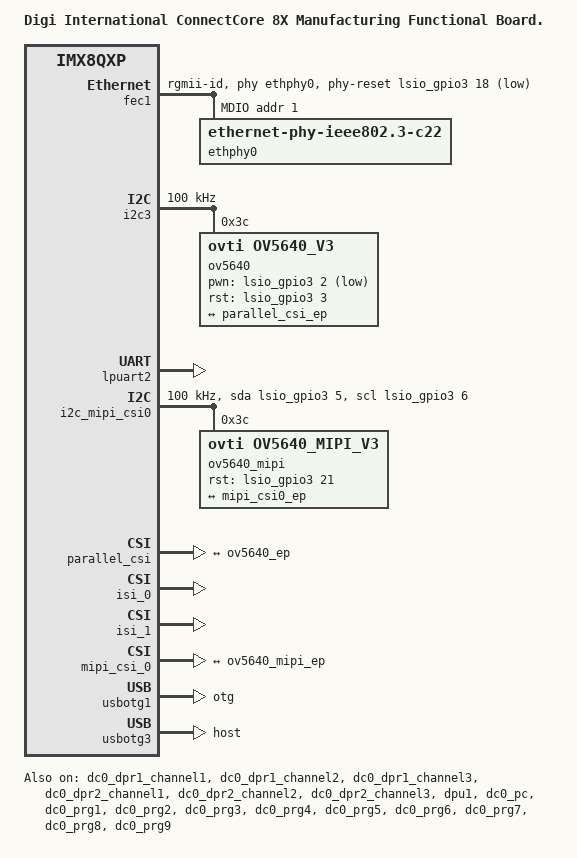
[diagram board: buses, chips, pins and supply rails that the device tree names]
/*
 * Copyright 2018-2019, Digi International Inc.
 *
 * Permission to use, copy, modify, and/or distribute this software for any
 * purpose with or without fee is hereby granted, provided that the above
 * copyright notice and this permission notice appear in all copies.
 * THE SOFTWARE IS PROVIDED "AS IS" AND THE AUTHOR DISCLAIMS ALL WARRANTIES
 * WITH REGARD TO THIS SOFTWARE INCLUDING ALL IMPLIED WARRANTIES OF
 * MERCHANTABILITY AND FITNESS. IN NO EVENT SHALL THE AUTHOR BE LIABLE FOR
 * ANY SPECIAL, DIRECT, INDIRECT, OR CONSEQUENTIAL DAMAGES OR ANY DAMAGES
 * WHATSOEVER RESULTING FROM LOSS OF USE, DATA OR PROFITS, WHETHER IN AN
 * ACTION OF CONTRACT, NEGLIGENCE OR OTHER TORTIOUS ACTION, ARISING OUT OF
 * OR IN CONNECTION WITH THE USE OR PERFORMANCE OF THIS SOFTWARE.
 */

#include <dt-bindings/usb/pd.h>
/ {
	model = "Digi International ConnectCore 8X Manufacturing Functional Board.";
	compatible = "digi,ccimx8x", "fsl,imx8qxp";
	digi,machine,name = "ccimx8x-mfg-functional";

	chosen {
		bootargs = "console=ttyLP2,115200 earlycon=lpuart32,0x5a080000,115200";
		stdout-path = &lpuart2;
	};
};

&dc0_dpr1_channel1 {
	status = "okay";
};

&dc0_dpr1_channel2 {
	status = "okay";
};

&dc0_dpr1_channel3 {
	status = "okay";
};

&dc0_dpr2_channel1 {
	status = "okay";
};

&dc0_dpr2_channel2 {
	status = "okay";
};

&dc0_dpr2_channel3 {
	status = "okay";
};

&dpu1 {
	status = "okay";
};

&fec1 {
	pinctrl-names = "default";
	pinctrl-0 = <&pinctrl_fec_gpio>,
		    <&pinctrl_fec>;
	phy-mode = "rgmii-id";
	phy-handle = <&ethphy0>;
	phy-reset-gpios = <&lsio_gpio3 18 GPIO_ACTIVE_LOW>;
	phy-reset-duration = <1>;
	fsl,magic-packet;
	status = "okay";

	mdio {
		#address-cells = <1>;
		#size-cells = <0>;

		ethphy0: ethernet-phy@0 {
			compatible = "ethernet-phy-ieee802.3-c22";
			reg = <1>;
			at803x,eee-disabled;
			at803x,vddio-1p8v;
		};
	};
};

&i2c3 {
	#address-cells = <1>;
	#size-cells = <0>;
	clock-frequency = <100000>;
	pinctrl-names = "default";
	pinctrl-0 = <&pinctrl_lpi2c3>;
	status = "okay";

	/* CSI Parallel Camera */
	ov5640: ov5640@3c {
		compatible = "ovti,ov5640_v3";
		reg = <0x3c>;
		pinctrl-names = "default";
		pinctrl-0 = <&pinctrl_parallel_csi>;
		clocks = <&pi0_misc_lpcg 0>;
		clock-names = "csi_mclk";
		pwn-gpios = <&lsio_gpio3 2 GPIO_ACTIVE_LOW>;
		rst-gpios = <&lsio_gpio3 3 GPIO_ACTIVE_HIGH>;
		csi_id = <0>;
		mclk = <24000000>;
		mclk_source = <0>;
		status = "okay";

		port {
			ov5640_ep: endpoint {
				remote-endpoint = <&parallel_csi_ep>;
			};
		};
	};
};

/* Console */
&lpuart2 {
	pinctrl-names = "default";
	pinctrl-0 = <&pinctrl_lpuart2>;
	status = "okay";
};

/* MIPI-CSI0 I2C available on MIPI Camera connector */
&i2c_mipi_csi0 {
	#address-cells = <1>;
	#size-cells = <0>;
	pinctrl-names = "default", "gpio";
	pinctrl-0 = <&pinctrl_csi0_lpi2c0>;
	pinctrl-1 = <&pinctrl_csi0_lpi2c0_gpio>;
	scl-gpios = <&lsio_gpio3 6 GPIO_ACTIVE_HIGH>;
	sda-gpios = <&lsio_gpio3 5 GPIO_ACTIVE_HIGH>;
	clock-frequency = <100000>;
	status = "okay";

	/* MIPI-CSI2 camera */
	ov5640_mipi: ov5640_mipi@3c {
		compatible = "ovti,ov5640_mipi_v3";
		reg = <0x3c>;
		pinctrl-names = "default";
		pinctrl-0 = <&pinctrl_mipi>;
		clocks = <&clk_dummy>;
		clock-names = "csi_mclk";
		csi_id = <0>;
		rst-gpios = <&lsio_gpio3 21 GPIO_ACTIVE_HIGH>;
		mclk = <24000000>;
		mclk_source = <0>;
		mipi_csi;
		status = "okay";

		port {
			ov5640_mipi_ep: endpoint {
				remote-endpoint = <&mipi_csi0_ep>;
			};
		};
	};
};

&cameradev {
	parallel_csi;
};

&parallel_csi {
	#address-cells = <1>;
	#size-cells = <0>;
	status = "okay";

	port@0 {
		reg = <0>;
		parallel_csi_ep: endpoint {
			remote-endpoint = <&ov5640_ep>;
		};
	};
};

&isi_0 {
	interface = <6 0 2>;	/* INPUT: 6-PARALLEL CSI */
	parallel_csi;
	status = "okay";
};

&isi_1 {
	interface = <2 0 2>;	/* INPUT: 2-MIPI CSI0 */
	status = "okay";
};

&mipi_csi_0 {
	#address-cells = <1>;
	#size-cells = <0>;
	status = "okay";

	/* Camera 0  MIPI CSI-2 (CSIS0) */
	port@0 {
		reg = <0>;
		mipi_csi0_ep: endpoint {
			remote-endpoint = <&ov5640_mipi_ep>;
			data-lanes = <1 2>;
		};
	};
};

/* MIPI display support */
&mipi0_dphy {
	status = "disabled";
};

&mipi0_dsi_host {
	status = "disabled";
};

/*&mipi_dsi_bridge1 {
	status = "disabled";

	panel@0 {
		compatible = "raydium,rm67191";
		reg = <0>;
		dsi-lanes = <4>;
		video-mode = <0>;
		panel-width-mm = <68>;
		panel-height-mm = <121>;
		display-timings {
			timing {
				clock-frequency = <31500000>;
				hactive = <640>;
				vactive = <480>;
				hback-porch = <4>;
				hfront-porch = <10>;
				vback-porch = <34>;
				vfront-porch = <20>;
				hsync-len = <2>;
				vsync-len = <2>;
				hsync-active = <0>;
				vsync-active = <0>;
				de-active = <0>;
				pixelclk-active = <0>;
			};
		};
		port {
			panel1_in: endpoint {
				remote-endpoint = <&mipi_bridge1_out>;
			};
		};
	};

	port@2 {
		mipi_bridge1_out: endpoint {
			remote-endpoint = <&panel1_in>;
		};
	};
};

&mipi_dsi_phy2 {
	status = "disabled";
};

&mipi_dsi2 {
	status = "disabled";
};

&mipi_dsi_bridge2 {
	status = "disabled";

	panel@0 {
		compatible = "raydium,rm67191";
		reg = <0>;
		dsi-lanes = <4>;
		video-mode = <0>;
		panel-width-mm = <68>;
		panel-height-mm = <121>;
		display-timings {
			timing {
				clock-frequency = <31500000>;
				hactive = <640>;
				vactive = <480>;
				hback-porch = <4>;
				hfront-porch = <10>;
				vback-porch = <34>;
				vfront-porch = <20>;
				hsync-len = <2>;
				vsync-len = <2>;
				hsync-active = <0>;
				vsync-active = <0>;
				de-active = <0>;
				pixelclk-active = <0>;
			};
		};
		port {
			panel2_in: endpoint {
				remote-endpoint = <&mipi_bridge2_out>;
			};
		};
	};

	port@2 {
		mipi_bridge2_out: endpoint {
			remote-endpoint = <&panel2_in>;
		};
	};
};*/

&dc0_pc {
	status = "okay";
};

&dc0_prg1 {
	status = "okay";
};

&dc0_prg2 {
	status = "okay";
};

&dc0_prg3 {
	status = "okay";
};

&dc0_prg4 {
	status = "okay";
};

&dc0_prg5 {
	status = "okay";
};

&dc0_prg6 {
	status = "okay";
};

&dc0_prg7 {
	status = "okay";
};

&dc0_prg8 {
	status = "okay";
};

&dc0_prg9 {
	status = "okay";
};

&usbotg1 {
	dr_mode = "otg";
	disable-over-current;
	status = "okay";
};

&usbotg3 {
	dr_mode = "host";
	disable-over-current;
	status = "okay";
};

/* IOMUX */
&iomuxc {
	pinctrl-names = "default";
	pinctrl-0 = <&pinctrl_hog>;

	pinctrl_hog: hoggrp {
		fsl,pins = <
			/* Castellated pads */
			IMX8QXP_USDHC1_RESET_B_LSIO_GPIO4_IO19		0x06000020
			IMX8QXP_USDHC1_VSELECT_LSIO_GPIO4_IO20		0x06000020
			IMX8QXP_USDHC1_WP_LSIO_GPIO4_IO21			0x06000020
			IMX8QXP_USDHC1_CD_B_LSIO_GPIO4_IO22		0x06000020
			IMX8QXP_USDHC1_CMD_LSIO_GPIO4_IO24			0x06000020
			IMX8QXP_USDHC1_DATA0_LSIO_GPIO4_IO25		0x06000020
			IMX8QXP_USDHC1_DATA1_LSIO_GPIO4_IO26		0x06000020
			IMX8QXP_USDHC1_DATA2_LSIO_GPIO4_IO27		0x06000020
			IMX8QXP_USDHC1_DATA3_LSIO_GPIO4_IO28		0x06000020
			IMX8QXP_USDHC1_CLK_LSIO_GPIO4_IO23			0x06000020
			IMX8QXP_UART0_TX_LSIO_GPIO1_IO22			0x06000020
			IMX8QXP_UART0_RX_LSIO_GPIO1_IO21			0x06000020
			IMX8QXP_MIPI_DSI0_I2C0_SCL_LSIO_GPIO1_IO25		0x06000020
			IMX8QXP_MIPI_DSI0_I2C0_SDA_LSIO_GPIO1_IO26		0x06000020
			IMX8QXP_MIPI_DSI0_GPIO0_00_LSIO_GPIO1_IO27		0x06000020
			IMX8QXP_MIPI_DSI1_I2C0_SCL_LSIO_GPIO1_IO29		0x06000020
			IMX8QXP_MIPI_DSI1_I2C0_SDA_LSIO_GPIO1_IO30		0x06000020
			IMX8QXP_MIPI_DSI1_GPIO0_00_LSIO_GPIO1_IO31		0x06000020
			IMX8QXP_MIPI_DSI1_GPIO0_01_LSIO_GPIO2_IO00		0x06000020
			IMX8QXP_QSPI0A_SS1_B_LSIO_GPIO3_IO15		0x06000020
			IMX8QXP_QSPI0A_SCLK_LSIO_GPIO3_IO16		0x06000020
			IMX8QXP_QSPI0A_DQS_LSIO_GPIO3_IO13			0x06000020
			IMX8QXP_QSPI0A_SS0_B_LSIO_GPIO3_IO14		0x06000020
			IMX8QXP_FLEXCAN2_RX_LSIO_GPIO1_IO19		0x06000020
			IMX8QXP_FLEXCAN2_TX_LSIO_GPIO1_IO20		0x06000020
			IMX8QXP_FLEXCAN1_RX_LSIO_GPIO1_IO17		0x06000020
			IMX8QXP_FLEXCAN1_TX_LSIO_GPIO1_IO18		0x06000020
			IMX8QXP_FLEXCAN0_RX_LSIO_GPIO1_IO15		0x06000020
			IMX8QXP_FLEXCAN0_TX_LSIO_GPIO1_IO16		0x06000020
			IMX8QXP_ADC_IN1_LSIO_GPIO1_IO09			0x06000020
			IMX8QXP_ADC_IN0_LSIO_GPIO1_IO10			0x06000020
			IMX8QXP_MCLK_OUT0_LSIO_GPIO0_IO20			0x06000020
			IMX8QXP_MCLK_IN0_LSIO_GPIO0_IO19			0x06000020
			IMX8QXP_SPI3_SCK_LSIO_GPIO0_IO13			0x06000020
			IMX8QXP_SPI3_SDO_LSIO_GPIO0_IO14			0x06000020
			IMX8QXP_SPI3_SDI_LSIO_GPIO0_IO15			0x06000020
			IMX8QXP_SPI3_CS0_LSIO_GPIO0_IO16			0x06000020
			IMX8QXP_ENET0_REFCLK_125M_25M_LSIO_GPIO5_IO09	0x06000020
			IMX8QXP_SCU_GPIO0_00_LSIO_GPIO2_IO03		0x06000020
			/* LGA pads */
			IMX8QXP_ESAI0_SCKR_LSIO_GPIO0_IO02			0x06000020
			IMX8QXP_ESAI0_SCKT_LSIO_GPIO0_IO03			0x06000020
			IMX8QXP_ESAI0_TX1_LSIO_GPIO0_IO05			0x06000020
			IMX8QXP_USB_SS3_TC1_LSIO_GPIO4_IO04		0x06000020
			IMX8QXP_USB_SS3_TC0_LSIO_GPIO4_IO03		0x06000020
			IMX8QXP_USB_SS3_TC2_LSIO_GPIO4_IO05		0x06000020
			IMX8QXP_USB_SS3_TC3_LSIO_GPIO4_IO06		0x06000020
			IMX8QXP_SPI2_CS0_LSIO_GPIO1_IO00			0x06000020
			IMX8QXP_ESAI0_TX2_RX3_LSIO_GPIO0_IO06		0x06000020
			IMX8QXP_ESAI0_FST_LSIO_GPIO0_IO01			0x06000020
			IMX8QXP_ESAI0_TX4_RX1_LSIO_GPIO0_IO08		0x06000020
			IMX8QXP_SPDIF0_TX_LSIO_GPIO0_IO11			0x06000020
			IMX8QXP_SAI1_RXD_LSIO_GPIO0_IO29			0x06000020
			IMX8QXP_ESAI0_TX5_RX0_LSIO_GPIO0_IO09		0x06000020
			IMX8QXP_SPDIF0_RX_LSIO_GPIO0_IO10			0x06000020
			IMX8QXP_ESAI0_TX0_LSIO_GPIO0_IO04			0x06000020
			IMX8QXP_ESAI0_TX3_RX2_LSIO_GPIO0_IO07		0x06000020
			IMX8QXP_SPDIF0_EXT_CLK_LSIO_GPIO0_IO12		0x06000020
			IMX8QXP_SPI2_SCK_LSIO_GPIO1_IO03			0x06000020
			IMX8QXP_SPI0_SDO_LSIO_GPIO1_IO06			0x06000020
			IMX8QXP_SAI0_TXD_LSIO_GPIO0_IO25			0x06000020
			IMX8QXP_SPI0_SDI_LSIO_GPIO1_IO05			0x06000020
			IMX8QXP_SAI0_TXC_LSIO_GPIO0_IO26			0x06000020
			IMX8QXP_SAI1_RXFS_LSIO_GPIO0_IO31			0x06000020
			IMX8QXP_QSPI0B_DATA1_LSIO_GPIO3_IO19		0x06000020
			IMX8QXP_QSPI0B_SS1_B_LSIO_GPIO3_IO24		0x06000020
			IMX8QXP_QSPI0B_DQS_LSIO_GPIO3_IO22			0x06000020
			IMX8QXP_QSPI0B_SS0_B_LSIO_GPIO3_IO23		0x06000020
			IMX8QXP_QSPI0B_DATA2_LSIO_GPIO3_IO20		0x06000020
			IMX8QXP_QSPI0B_SCLK_LSIO_GPIO3_IO17		0x06000020
			IMX8QXP_ADC_IN4_LSIO_GPIO1_IO14			0x06000020
			IMX8QXP_ADC_IN3_LSIO_GPIO1_IO11			0x06000020
			IMX8QXP_ADC_IN2_LSIO_GPIO1_IO12			0x06000020
			IMX8QXP_ADC_IN5_LSIO_GPIO1_IO13			0x06000020
			IMX8QXP_MIPI_CSI0_MCLK_OUT_LSIO_GPIO3_IO04		0x06000020
		>;
	};

	pinctrl_csi0_lpi2c0: csi0lpi2c0grp {
		fsl,pins = <
			IMX8QXP_MIPI_CSI0_I2C0_SCL_MIPI_CSI0_I2C0_SCL	0xc2000020
			IMX8QXP_MIPI_CSI0_I2C0_SDA_MIPI_CSI0_I2C0_SDA	0xc2000020
		>;
	};

	pinctrl_csi0_lpi2c0_gpio: csi0lpi2c0gpiogrp {
		fsl,pins = <
			IMX8QXP_MIPI_CSI0_I2C0_SCL_LSIO_GPIO3_IO05	0xc2000020
			IMX8QXP_MIPI_CSI0_I2C0_SDA_LSIO_GPIO3_IO06	0xc2000020
		>;
	};

	pinctrl_fec: fecgrp {
		fsl,pins = <
			/*
			 * The SCFW of B0 defaults ENET0/1 domains to 2.5V:
			 * - VDD_ENET0_1P8_2P5_3P3
			 * - VDD_ENET0_VSELECT_1P8_2P5_3P3
			 * - VDD_ESAI_SPDIF_1P8_2P5_3P3
			 * Turn the domains back to 1.8/3.3V detector
			 */
			IMX8QXP_COMP_CTL_GPIO_1V8_3V3_ENET_ENETB0_PAD	0x000014a0
			IMX8QXP_COMP_CTL_GPIO_1V8_3V3_ENET_ENETB1_PAD	0x000014a0
			IMX8QXP_COMP_CTL_GPIO_1V8_3V3_GPIORHB_PAD		0x000514a0

			IMX8QXP_ENET0_RGMII_TX_CTL_CONN_ENET0_RGMII_TX_CTL	0x00000061
			IMX8QXP_ENET0_RGMII_TXC_CONN_ENET0_RGMII_TXC	0x00000061
			IMX8QXP_ENET0_RGMII_TXD0_CONN_ENET0_RGMII_TXD0	0x00000061
			IMX8QXP_ENET0_RGMII_TXD1_CONN_ENET0_RGMII_TXD1	0x00000061
			IMX8QXP_ENET0_RGMII_TXD2_CONN_ENET0_RGMII_TXD2	0x00000061
			IMX8QXP_ENET0_RGMII_TXD3_CONN_ENET0_RGMII_TXD3	0x00000061
			IMX8QXP_ENET0_RGMII_RXC_CONN_ENET0_RGMII_RXC	0x00000061
			IMX8QXP_ENET0_RGMII_RX_CTL_CONN_ENET0_RGMII_RX_CTL	0x00000061
			IMX8QXP_ENET0_RGMII_RXD0_CONN_ENET0_RGMII_RXD0	0x00000061
			IMX8QXP_ENET0_RGMII_RXD1_CONN_ENET0_RGMII_RXD1	0x00000061
			IMX8QXP_ENET0_RGMII_RXD2_CONN_ENET0_RGMII_RXD2	0x00000061
			IMX8QXP_ENET0_RGMII_RXD3_CONN_ENET0_RGMII_RXD3	0x00000061
		>;
	};

	pinctrl_fec_gpio: fecgpiogrp {
		fsl,pins = <
			/* PHY reset */
			IMX8QXP_QSPI0B_DATA0_LSIO_GPIO3_IO18	0x06000021
			/* PHY interrupt */
			IMX8QXP_MIPI_DSI0_GPIO0_01_LSIO_GPIO1_IO28	0x06000021
		>;
	};

	pinctrl_fec_mdio: fecmdiogrp {
		fsl,pins = <
			IMX8QXP_ENET0_MDC_CONN_ENET0_MDC		0x06000020
			IMX8QXP_ENET0_MDIO_CONN_ENET0_MDIO		0x06000020
		>;
	};

	pinctrl_lpi2c3: lpi2c3grp {
		fsl,pins = <
			IMX8QXP_SPI3_CS1_ADMA_I2C3_SCL	0x06000020
			IMX8QXP_MCLK_IN1_ADMA_I2C3_SDA	0x06000020
		>;
	};

	pinctrl_lpuart2: lpuart2grp {
		fsl,pins = <
			IMX8QXP_UART2_TX_ADMA_UART2_TX	0x06000020
			IMX8QXP_UART2_RX_ADMA_UART2_RX	0x06000020
		>;
	};

	pinctrl_mipi: mipi {
		fsl,pins = <
			IMX8QXP_QSPI0B_DATA3_LSIO_GPIO3_IO21 0xC0000020
		>;
	};

	pinctrl_parallel_csi: parallelcsigrp {
		fsl,pins = <
			IMX8QXP_CSI_D00_CI_PI_D02		0xC0000041
			IMX8QXP_CSI_D01_CI_PI_D03		0xC0000041
			IMX8QXP_CSI_D02_CI_PI_D04		0xC0000041
			IMX8QXP_CSI_D03_CI_PI_D05		0xC0000041
			IMX8QXP_CSI_D04_CI_PI_D06		0xC0000041
			IMX8QXP_CSI_D05_CI_PI_D07		0xC0000041
			IMX8QXP_CSI_D06_CI_PI_D08		0xC0000041
			IMX8QXP_CSI_D07_CI_PI_D09		0xC0000041

			IMX8QXP_CSI_MCLK_CI_PI_MCLK	0xC0000041
			IMX8QXP_CSI_PCLK_CI_PI_PCLK	0xC0000041
			IMX8QXP_CSI_HSYNC_CI_PI_HSYNC	0xC0000041
			IMX8QXP_CSI_VSYNC_CI_PI_VSYNC	0xC0000041
			/* CSI Camera enable */
			IMX8QXP_CSI_EN_LSIO_GPIO3_IO02	0xC0000041
			/* CSI Camera reset */
			IMX8QXP_CSI_RESET_LSIO_GPIO3_IO03	0xC0000041

			/* CSI_D0 */
			IMX8QXP_SAI0_RXD_LSIO_GPIO0_IO27	0x06000020
			/* CSI_D1 */
			IMX8QXP_SAI0_TXFS_LSIO_GPIO0_IO28	0x06000020
			/* CSI_D2 */
			IMX8QXP_SPI0_SCK_LSIO_GPIO1_IO04	0x06000020
			/* CSI_D3 */
			IMX8QXP_SAI1_RXC_LSIO_GPIO0_IO30	0x06000020
			/* CSI_D4 */
			IMX8QXP_SPI0_CS0_LSIO_GPIO1_IO08	0x06000020
			/* CSI_D5 */
			IMX8QXP_SPI0_CS1_LSIO_GPIO1_IO07	0x06000020
			/* CSI_D6 */
			IMX8QXP_SPI2_SDO_LSIO_GPIO1_IO01	0x06000020
			/* CSI_D7 */
			IMX8QXP_SPI2_SDI_LSIO_GPIO1_IO02	0x06000020
		>;
	};
};
